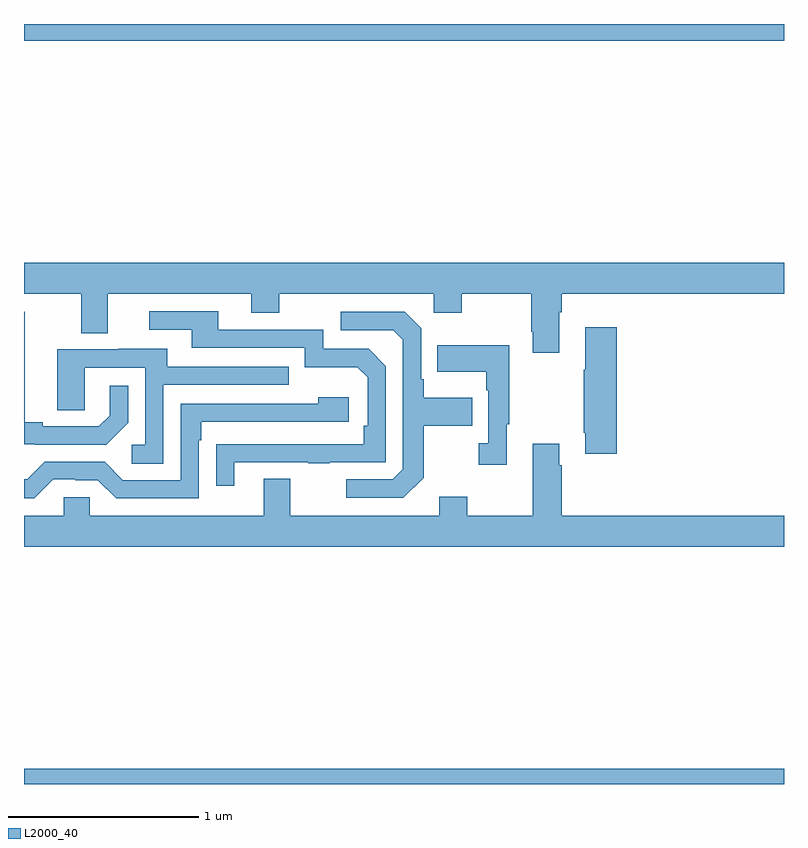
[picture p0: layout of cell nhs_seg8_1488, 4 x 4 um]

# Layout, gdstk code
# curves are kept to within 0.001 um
import gdstk
lib = gdstk.Library(unit=1e-6, precision=1e-09)
def R(c, l, rs):  # rectangles x0, y0, x1, y1
    for r in rs: c.add(gdstk.rectangle(r[:2], r[2:], *l))
def P(c, l, *ps):  # polygons
    for p in ps: c.add(gdstk.Polygon(p, *l))
L2000_40 = (2000, 40)

nhs_seg8_1488 = lib.new_cell('nhs_seg8_1488')
R(nhs_seg8_1488, L2000_40, [(205,1133.9,209,1133.98), (205,1137.812,209,1137.9)])
P(nhs_seg8_1488, L2000_40, [(207.817,1136.384),(207.83,1136.384),(207.83,1136.48),(209,1136.48),(209,1136.644),(205,1136.644),(205,1136.48),(205.301,1136.48),(205.301,1136.272),(205.441,1136.272),(205.441,1136.48),(206.195,1136.48),(206.195,1136.381),(206.343,1136.381),(206.343,1136.48),(207.156,1136.48),(207.156,1136.381),(207.303,1136.381),(207.303,1136.48),(207.67,1136.48),(207.67,1136.281),(207.677,1136.281),(207.677,1136.169),(207.817,1136.169)],
  [(206.107,1135.593),(206.497,1135.593),(206.497,1135.588),(206.609,1135.588),(206.609,1135.593),(206.904,1135.593),(206.904,1136.1),(206.814,1136.19),(206.574,1136.19),(206.574,1136.292),(206.023,1136.292),(206.023,1136.388),(205.659,1136.388),(205.659,1136.292),(205.883,1136.292),(205.883,1136.196),(206.478,1136.196),(206.478,1136.093),(206.755,1136.093),(206.808,1136.04),(206.808,1135.786),(206.788,1135.786),(206.788,1135.689),(206.011,1135.688),(206.011,1135.47),(206.107,1135.47)],
  [(205.548,1135.802),(205.548,1135.996),(205.451,1135.996),(205.451,1135.839),(205.394,1135.782),(205.099,1135.782),(205.099,1135.805),(205.003,1135.805),(205.003,1136.385),(205,1136.385),(205,1135.689),(205.06,1135.689),(205.06,1135.686),(205.432,1135.686)],
  [(207.103,1135.513),(207.103,1135.786),(207.359,1135.786),(207.359,1135.933),(207.103,1135.933),(207.103,1136.029),(207.09,1136.029),(207.09,1136.298),(207.003,1136.385),(206.667,1136.385),(206.667,1136.289),(206.943,1136.289),(206.994,1136.238),(206.994,1135.557),(206.94,1135.503),(206.697,1135.503),(206.697,1135.407),(206.997,1135.407)],
  [(208.121,1136.305),(207.953,1136.305),(207.953,1136.081),(207.946,1136.081),(207.946,1135.75),(207.953,1135.75),(207.953,1135.638),(208.121,1135.638)],
  [(207.541,1135.793),(207.553,1135.793),(207.553,1136.209),(207.175,1136.209),(207.175,1136.069),(207.432,1136.069),(207.432,1135.973),(207.444,1135.973),(207.444,1135.694),(207.393,1135.694),(207.393,1135.581),(207.541,1135.581)],
  [(205.734,1136.001),(206.393,1136.001),(206.393,1136.097),(205.753,1136.097),(205.753,1136.191),(205.499,1136.191),(205.499,1136.187),(205.175,1136.187),(205.175,1135.867),(205.32,1135.867),(205.32,1136.091),(205.638,1136.091),(205.638,1135.686),(205.566,1135.686),(205.566,1135.585),(205.734,1135.585)],
  [(205.155,1135.503),(205.271,1135.503),(205.271,1135.5),(205.389,1135.5),(205.485,1135.404),(205.92,1135.404),(205.92,1135.709),(205.933,1135.709),(205.933,1135.806),(206.71,1135.806),(206.71,1135.936),(206.549,1135.936),(206.549,1135.902),(205.824,1135.902),(205.824,1135.5),(205.521,1135.5),(205.425,1135.596),(205.11,1135.596),(205.017,1135.503),(205,1135.503),(205,1135.403),(205.055,1135.403)],
  [(209,1135.312),(207.83,1135.312),(207.83,1135.577),(207.817,1135.577),(207.817,1135.69),(207.677,1135.69),(207.677,1135.312),(207.333,1135.312),(207.333,1135.411),(207.185,1135.411),(207.185,1135.312),(206.401,1135.312),(206.401,1135.507),(206.261,1135.507),(206.261,1135.312),(205.347,1135.312),(205.347,1135.41),(205.209,1135.41),(205.209,1135.312),(205,1135.312),(205,1135.148),(209,1135.148)])

lib.write_gds('nhs_seg8_1488.gds')
